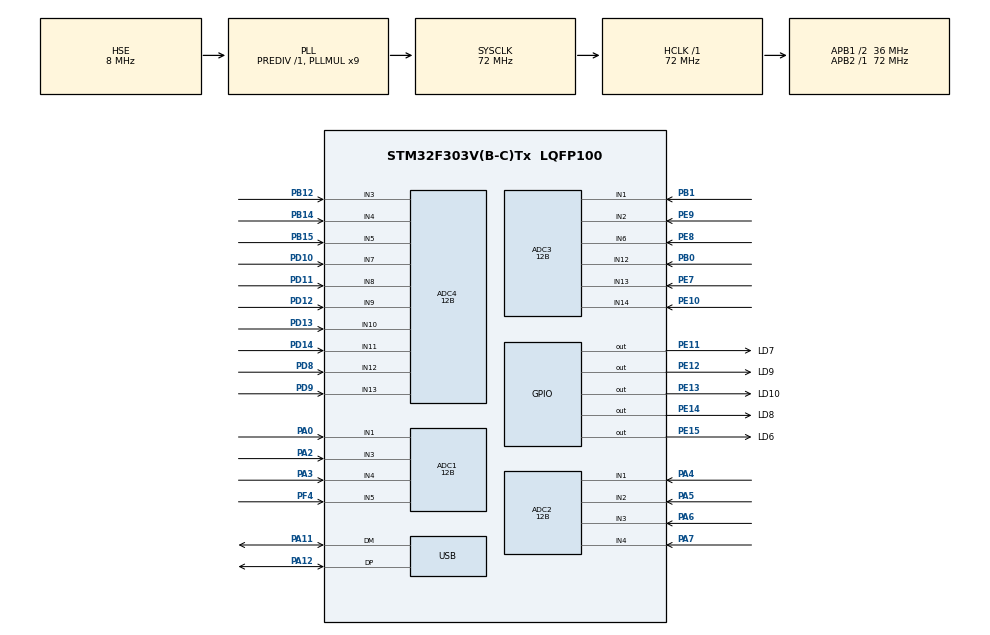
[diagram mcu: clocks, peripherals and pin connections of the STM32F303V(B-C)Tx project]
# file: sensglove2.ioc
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ADC1.Channel-0\#ChannelRegularConversion=ADC_CHANNEL_5
ADC1.Channel-1\#ChannelRegularConversion=ADC_CHANNEL_3
ADC1.Channel-2\#ChannelRegularConversion=ADC_CHANNEL_4
ADC1.Channel-3\#ChannelRegularConversion=ADC_CHANNEL_1
ADC1.ClockPrescaler=ADC_CLOCK_SYNC_PCLK_DIV1
ADC1.ContinuousConvMode=ENABLE
ADC1.DMAContinuousRequests=ENABLE
ADC1.DataAlign=ADC_DATAALIGN_RIGHT
ADC1.DiscontinuousConvMode=DISABLE
ADC1.EOCSelection=ADC_EOC_SEQ_CONV
ADC1.EnableAnalogWatchDog1=false
ADC1.EnableAnalogWatchDog2=false
ADC1.EnableAnalogWatchDog3=false
ADC1.EnableInjectedConversion=ENABLE
ADC1.EnableRegularConversion=ENABLE
ADC1.ExternalTrigConv=ADC_SOFTWARE_START
ADC1.ExternalTrigConvEdge=ADC_EXTERNALTRIGCONVEDGE_NONE
ADC1.InjNumberOfConversion=0
ADC1.LowPowerAutoWait=DISABLE
ADC1.NbrOfConversion=4
ADC1.NbrOfConversionFlag=1
ADC1.Offset-0\#ChannelRegularConversion=0
ADC1.Offset-1\#ChannelRegularConversion=0
ADC1.Offset-2\#ChannelRegularConversion=0
ADC1.Offset-3\#ChannelRegularConversion=0
ADC1.OffsetNumber-0\#ChannelRegularConversion=ADC_OFFSET_NONE
ADC1.OffsetNumber-1\#ChannelRegularConversion=ADC_OFFSET_NONE
ADC1.OffsetNumber-2\#ChannelRegularConversion=ADC_OFFSET_NONE
ADC1.OffsetNumber-3\#ChannelRegularConversion=ADC_OFFSET_NONE
ADC1.Overrun=ADC_OVR_DATA_OVERWRITTEN
ADC1.Rank-0\#ChannelRegularConversion=1
ADC1.Rank-1\#ChannelRegularConversion=2
ADC1.Rank-2\#ChannelRegularConversion=3
ADC1.Rank-3\#ChannelRegularConversion=4
ADC1.Resolution=ADC_RESOLUTION_12B
ADC1.SamplingTime-0\#ChannelRegularConversion=ADC_SAMPLETIME_601CYCLES_5
ADC1.SamplingTime-1\#ChannelRegularConversion=ADC_SAMPLETIME_601CYCLES_5
ADC1.SamplingTime-2\#ChannelRegularConversion=ADC_SAMPLETIME_601CYCLES_5
ADC1.SamplingTime-3\#ChannelRegularConversion=ADC_SAMPLETIME_601CYCLES_5
ADC1.ScanConvMode=ADC_SCAN_ENABLE
ADC1.master=1
ADC2.Channel-22\#ChannelRegularConversion=ADC_CHANNEL_4
ADC2.Channel-23\#ChannelRegularConversion=ADC_CHANNEL_3
ADC2.Channel-24\#ChannelRegularConversion=ADC_CHANNEL_2
ADC2.Channel-25\#ChannelRegularConversion=ADC_CHANNEL_1
ADC2.ClockPrescaler=ADC_CLOCK_SYNC_PCLK_DIV1
ADC2.ContinuousConvMode=ENABLE
ADC2.DMAContinuousRequests=ENABLE
ADC2.DataAlign=ADC_DATAALIGN_RIGHT
ADC2.DiscontinuousConvMode=DISABLE
ADC2.EOCSelection=ADC_EOC_SEQ_CONV
ADC2.EnableAnalogWatchDog1=false
ADC2.EnableAnalogWatchDog2=false
ADC2.EnableAnalogWatchDog3=false
ADC2.EnableInjectedConversion=ENABLE
ADC2.EnableRegularConversion=ENABLE
ADC2.ExternalTrigConv=ADC_SOFTWARE_START
ADC2.ExternalTrigConvEdge=ADC_EXTERNALTRIGCONVEDGE_NONE
ADC2.InjNumberOfConversion=0
ADC2.LowPowerAutoWait=DISABLE
ADC2.NbrOfConversion=4
ADC2.NbrOfConversionFlag=1
ADC2.Offset-22\#ChannelRegularConversion=0
ADC2.Offset-23\#ChannelRegularConversion=0
ADC2.Offset-24\#ChannelRegularConversion=0
ADC2.Offset-25\#ChannelRegularConversion=0
ADC2.OffsetNumber-22\#ChannelRegularConversion=ADC_OFFSET_NONE
ADC2.OffsetNumber-23\#ChannelRegularConversion=ADC_OFFSET_NONE
ADC2.OffsetNumber-24\#ChannelRegularConversion=ADC_OFFSET_NONE
ADC2.OffsetNumber-25\#ChannelRegularConversion=ADC_OFFSET_NONE
ADC2.Overrun=ADC_OVR_DATA_OVERWRITTEN
ADC2.Rank-22\#ChannelRegularConversion=1
ADC2.Rank-23\#ChannelRegularConversion=2
ADC2.Rank-24\#ChannelRegularConversion=3
ADC2.Rank-25\#ChannelRegularConversion=4
ADC2.Resolution=ADC_RESOLUTION_12B
ADC2.SamplingTime-22\#ChannelRegularConversion=ADC_SAMPLETIME_601CYCLES_5
ADC2.SamplingTime-23\#ChannelRegularConversion=ADC_SAMPLETIME_601CYCLES_5
ADC2.SamplingTime-24\#ChannelRegularConversion=ADC_SAMPLETIME_601CYCLES_5
ADC2.SamplingTime-25\#ChannelRegularConversion=ADC_SAMPLETIME_601CYCLES_5
ADC2.ScanConvMode=ADC_SCAN_ENABLE
ADC3.Channel-0\#ChannelRegularConversion=ADC_CHANNEL_14
ADC3.Channel-1\#ChannelRegularConversion=ADC_CHANNEL_2
ADC3.Channel-2\#ChannelRegularConversion=ADC_CHANNEL_6
ADC3.Channel-3\#ChannelRegularConversion=ADC_CHANNEL_13
ADC3.Channel-4\#ChannelRegularConversion=ADC_CHANNEL_1
ADC3.Channel-5\#ChannelRegularConversion=ADC_CHANNEL_12
ADC3.ClockPrescaler=ADC_CLOCK_SYNC_PCLK_DIV1
ADC3.ContinuousConvMode=ENABLE
ADC3.DMAContinuousRequests=ENABLE
ADC3.DataAlign=ADC_DATAALIGN_RIGHT
ADC3.DiscontinuousConvMode=DISABLE
ADC3.EOCSelection=ADC_EOC_SEQ_CONV
ADC3.EnableAnalogWatchDog1=false
ADC3.EnableAnalogWatchDog2=false
ADC3.EnableAnalogWatchDog3=false
ADC3.EnableInjectedConversion=ENABLE
ADC3.EnableRegularConversion=ENABLE
ADC3.ExternalTrigConv=ADC_SOFTWARE_START
ADC3.ExternalTrigConvEdge=ADC_EXTERNALTRIGCONVEDGE_NONE
ADC3.InjNumberOfConversion=0
ADC3.LowPowerAutoWait=DISABLE
ADC3.NbrOfConversion=6
ADC3.NbrOfConversionFlag=1
ADC3.Offset-0\#ChannelRegularConversion=0
ADC3.Offset-1\#ChannelRegularConversion=0
ADC3.Offset-2\#ChannelRegularConversion=0
ADC3.Offset-3\#ChannelRegularConversion=0
ADC3.Offset-4\#ChannelRegularConversion=0
ADC3.Offset-5\#ChannelRegularConversion=0
ADC3.OffsetNumber-0\#ChannelRegularConversion=ADC_OFFSET_NONE
ADC3.OffsetNumber-1\#ChannelRegularConversion=ADC_OFFSET_NONE
ADC3.OffsetNumber-2\#ChannelRegularConversion=ADC_OFFSET_NONE
ADC3.OffsetNumber-3\#ChannelRegularConversion=ADC_OFFSET_NONE
ADC3.OffsetNumber-4\#ChannelRegularConversion=ADC_OFFSET_NONE
ADC3.OffsetNumber-5\#ChannelRegularConversion=ADC_OFFSET_NONE
ADC3.Overrun=ADC_OVR_DATA_OVERWRITTEN
ADC3.Rank-0\#ChannelRegularConversion=1
ADC3.Rank-1\#ChannelRegularConversion=2
ADC3.Rank-2\#ChannelRegularConversion=3
ADC3.Rank-3\#ChannelRegularConversion=4
ADC3.Rank-4\#ChannelRegularConversion=5
ADC3.Rank-5\#ChannelRegularConversion=6
ADC3.Resolution=ADC_RESOLUTION_12B
ADC3.SamplingTime-0\#ChannelRegularConversion=ADC_SAMPLETIME_181CYCLES_5
ADC3.SamplingTime-1\#ChannelRegularConversion=ADC_SAMPLETIME_181CYCLES_5
ADC3.SamplingTime-2\#ChannelRegularConversion=ADC_SAMPLETIME_181CYCLES_5
ADC3.SamplingTime-3\#ChannelRegularConversion=ADC_SAMPLETIME_181CYCLES_5
ADC3.SamplingTime-4\#ChannelRegularConversion=ADC_SAMPLETIME_181CYCLES_5
ADC3.SamplingTime-5\#ChannelRegularConversion=ADC_SAMPLETIME_181CYCLES_5
ADC3.ScanConvMode=ADC_SCAN_ENABLE
ADC3.master=1
ADC4.Channel-0\#ChannelRegularConversion=ADC_CHANNEL_11
ADC4.Channel-1\#ChannelRegularConversion=ADC_CHANNEL_10
ADC4.Channel-2\#ChannelRegularConversion=ADC_CHANNEL_9
ADC4.Channel-3\#ChannelRegularConversion=ADC_CHANNEL_8
ADC4.Channel-4\#ChannelRegularConversion=ADC_CHANNEL_7
ADC4.Channel-5\#ChannelRegularConversion=ADC_CHANNEL_13
ADC4.Channel-6\#ChannelRegularConversion=ADC_CHANNEL_12
ADC4.Channel-7\#ChannelRegularConversion=ADC_CHANNEL_5
ADC4.Channel-8\#ChannelRegularConversion=ADC_CHANNEL_4
ADC4.Channel-9\#ChannelRegularConversion=ADC_CHANNEL_3
ADC4.ClockPrescaler=ADC_CLOCK_SYNC_PCLK_DIV1
ADC4.ContinuousConvMode=ENABLE
ADC4.DMAContinuousRequests=ENABLE
ADC4.DataAlign=ADC_DATAALIGN_RIGHT
ADC4.DiscontinuousConvMode=DISABLE
ADC4.EOCSelection=ADC_EOC_SEQ_CONV
ADC4.EnableAnalogWatchDog1=false
ADC4.EnableAnalogWatchDog2=false
ADC4.EnableAnalogWatchDog3=false
ADC4.EnableInjectedConversion=ENABLE
ADC4.EnableRegularConversion=ENABLE
ADC4.ExternalTrigConv=ADC_SOFTWARE_START
ADC4.ExternalTrigConvEdge=ADC_EXTERNALTRIGCONVEDGE_NONE
ADC4.InjNumberOfConversion=0
ADC4.LowPowerAutoWait=DISABLE
ADC4.NbrOfConversion=10
ADC4.NbrOfConversionFlag=1
ADC4.Offset-0\#ChannelRegularConversion=0
ADC4.Offset-1\#ChannelRegularConversion=0
ADC4.Offset-2\#ChannelRegularConversion=0
ADC4.Offset-3\#ChannelRegularConversion=0
ADC4.Offset-4\#ChannelRegularConversion=0
ADC4.Offset-5\#ChannelRegularConversion=0
ADC4.Offset-6\#ChannelRegularConversion=0
ADC4.Offset-7\#ChannelRegularConversion=0
ADC4.Offset-8\#ChannelRegularConversion=0
ADC4.Offset-9\#ChannelRegularConversion=0
ADC4.OffsetNumber-0\#ChannelRegularConversion=ADC_OFFSET_NONE
ADC4.OffsetNumber-1\#ChannelRegularConversion=ADC_OFFSET_NONE
ADC4.OffsetNumber-2\#ChannelRegularConversion=ADC_OFFSET_NONE
ADC4.OffsetNumber-3\#ChannelRegularConversion=ADC_OFFSET_NONE
ADC4.OffsetNumber-4\#ChannelRegularConversion=ADC_OFFSET_NONE
ADC4.OffsetNumber-5\#ChannelRegularConversion=ADC_OFFSET_NONE
ADC4.OffsetNumber-6\#ChannelRegularConversion=ADC_OFFSET_NONE
ADC4.OffsetNumber-7\#ChannelRegularConversion=ADC_OFFSET_NONE
ADC4.OffsetNumber-8\#ChannelRegularConversion=ADC_OFFSET_NONE
ADC4.OffsetNumber-9\#ChannelRegularConversion=ADC_OFFSET_NONE
ADC4.Overrun=ADC_OVR_DATA_OVERWRITTEN
ADC4.Rank-0\#ChannelRegularConversion=1
ADC4.Rank-1\#ChannelRegularConversion=2
ADC4.Rank-2\#ChannelRegularConversion=3
ADC4.Rank-3\#ChannelRegularConversion=4
ADC4.Rank-4\#ChannelRegularConversion=5
ADC4.Rank-5\#ChannelRegularConversion=6
ADC4.Rank-6\#ChannelRegularConversion=7
ADC4.Rank-7\#ChannelRegularConversion=8
ADC4.Rank-8\#ChannelRegularConversion=9
ADC4.Rank-9\#ChannelRegularConversion=10
ADC4.Resolution=ADC_RESOLUTION_12B
ADC4.SamplingTime-0\#ChannelRegularConversion=ADC_SAMPLETIME_181CYCLES_5
ADC4.SamplingTime-1\#ChannelRegularConversion=ADC_SAMPLETIME_181CYCLES_5
ADC4.SamplingTime-2\#ChannelRegularConversion=ADC_SAMPLETIME_181CYCLES_5
ADC4.SamplingTime-3\#ChannelRegularConversion=ADC_SAMPLETIME_181CYCLES_5
ADC4.SamplingTime-4\#ChannelRegularConversion=ADC_SAMPLETIME_181CYCLES_5
ADC4.SamplingTime-5\#ChannelRegularConversion=ADC_SAMPLETIME_181CYCLES_5
ADC4.SamplingTime-6\#ChannelRegularConversion=ADC_SAMPLETIME_181CYCLES_5
ADC4.SamplingTime-7\#ChannelRegularConversion=ADC_SAMPLETIME_181CYCLES_5
ADC4.SamplingTime-8\#ChannelRegularConversion=ADC_SAMPLETIME_181CYCLES_5
ADC4.SamplingTime-9\#ChannelRegularConversion=ADC_SAMPLETIME_181CYCLES_5
ADC4.ScanConvMode=ADC_SCAN_ENABLE
Dma.ADC1.2.Direction=DMA_PERIPH_TO_MEMORY
Dma.ADC1.2.Instance=DMA1_Channel1
Dma.ADC1.2.MemDataAlignment=DMA_MDATAALIGN_HALFWORD
Dma.ADC1.2.MemInc=DMA_MINC_ENABLE
Dma.ADC1.2.Mode=DMA_CIRCULAR
Dma.ADC1.2.PeriphDataAlignment=DMA_PDATAALIGN_HALFWORD
Dma.ADC1.2.PeriphInc=DMA_PINC_DISABLE
Dma.ADC1.2.Priority=DMA_PRIORITY_HIGH
Dma.ADC2.1.Direction=DMA_PERIPH_TO_MEMORY
Dma.ADC2.1.Instance=DMA2_Channel1
Dma.ADC2.1.MemDataAlignment=DMA_MDATAALIGN_HALFWORD
Dma.ADC2.1.MemInc=DMA_MINC_ENABLE
Dma.ADC2.1.Mode=DMA_CIRCULAR
Dma.ADC2.1.PeriphDataAlignment=DMA_PDATAALIGN_HALFWORD
Dma.ADC2.1.PeriphInc=DMA_PINC_DISABLE
Dma.ADC2.1.Priority=DMA_PRIORITY_HIGH
Dma.ADC3.0.Direction=DMA_PERIPH_TO_MEMORY
Dma.ADC3.0.Instance=DMA2_Channel5
Dma.ADC3.0.MemDataAlignment=DMA_MDATAALIGN_HALFWORD
Dma.ADC3.0.MemInc=DMA_MINC_ENABLE
Dma.ADC3.0.Mode=DMA_CIRCULAR
Dma.ADC3.0.PeriphDataAlignment=DMA_PDATAALIGN_HALFWORD
Dma.ADC3.0.PeriphInc=DMA_PINC_DISABLE
Dma.ADC3.0.Priority=DMA_PRIORITY_MEDIUM
Dma.ADC4.3.Direction=DMA_PERIPH_TO_MEMORY
Dma.ADC4.3.Instance=DMA2_Channel2
Dma.ADC4.3.MemDataAlignment=DMA_MDATAALIGN_HALFWORD
Dma.ADC4.3.MemInc=DMA_MINC_ENABLE
Dma.ADC4.3.Mode=DMA_CIRCULAR
Dma.ADC4.3.PeriphDataAlignment=DMA_PDATAALIGN_HALFWORD
Dma.ADC4.3.PeriphInc=DMA_PINC_DISABLE
Dma.ADC4.3.Priority=DMA_PRIORITY_MEDIUM
Dma.Request0=ADC3
Dma.Request1=ADC2
Dma.Request2=ADC1
Dma.Request3=ADC4
Mcu.Family=STM32F3
Mcu.Name=STM32F303V(B-C)Tx
Mcu.Package=LQFP100
Mcu.UserConstants=htim6_PSC,72;htim6_ARR,999
NVIC.DMA1_Channel1_IRQn=true\:0\:0\:false\:false\:true
NVIC.DMA2_Channel1_IRQn=true\:0\:0\:false\:false\:true
NVIC.DMA2_Channel2_IRQn=true\:0\:0\:false\:false\:true
NVIC.DMA2_Channel5_IRQn=true\:0\:0\:false\:false\:true
NVIC.PriorityGroup=NVIC_PRIORITYGROUP_4
NVIC.TIM6_DAC_IRQn=true\:0\:0\:false\:false\:true
NVIC.USB_LP_CAN_RX0_IRQn=true\:0\:0\:false\:false\:true
PA0.Mode=IN1-Single-Ended
PA0.Signal=ADC1_IN1
PA11.Mode=Device
PA11.Signal=USB_DM
PA12.Mode=Device
PA12.Signal=USB_DP
PA13.Mode=Serial_Wire
PA13.Signal=SYS_JTMS-SWDIO
PA14.Mode=Serial_Wire
PA14.Signal=SYS_JTCK-SWCLK
PA2.Mode=IN3-Single-Ended
PA2.Signal=ADC1_IN3
PA3.Mode=IN4-Single-Ended
PA3.Signal=ADC1_IN4
PA4.Mode=IN1-Single-Ended
PA4.Signal=ADC2_IN1
PA5.Mode=IN2-Single-Ended
PA5.Signal=ADC2_IN2
PA6.Mode=IN3-Single-Ended
PA6.Signal=ADC2_IN3
PA7.Mode=IN4-Single-Ended
PA7.Signal=ADC2_IN4
PB0.Mode=IN12-Single-Ended
PB0.Signal=ADC3_IN12
PB1.Mode=IN1-Single-Ended
PB1.Signal=ADC3_IN1
PB12.Mode=IN3-Single-Ended
PB12.Signal=ADC4_IN3
PB14.Mode=IN4-Single-Ended
PB14.Signal=ADC4_IN4
PB15.Mode=IN5-Single-Ended
PB15.Signal=ADC4_IN5
PD10.Signal=ADCx_IN7P
PD11.Signal=ADCx_IN8P
PD12.Signal=ADCx_IN9P
PD13.Signal=ADCx_IN10P
PD14.Signal=ADCx_IN11
PD8.Mode=IN12-Single-Ended
PD8.Signal=ADC4_IN12
PD9.Mode=IN13-Single-Ended
PD9.Signal=ADC4_IN13
PE10.Mode=IN14-Single-Ended
PE10.Signal=ADC3_IN14
PE11.GPIO_Label=LD7
PE11.Signal=GPIO_Output
PE12.GPIO_Label=LD9
PE12.Signal=GPIO_Output
PE13.GPIO_Label=LD10
PE13.Signal=GPIO_Output
PE14.GPIO_Label=LD8
PE14.Signal=GPIO_Output
PE15.GPIO_Label=LD6
PE15.Signal=GPIO_Output
PE7.Mode=IN13-Single-Ended
PE7.Signal=ADC3_IN13
PE8.Signal=ADCx_IN6P
PE9.Mode=IN2-Single-Ended
PE9.Signal=ADC3_IN2
PF0-OSC_IN.Mode=HSE-External-Clock-Source
PF0-OSC_IN.Signal=RCC_OSC_IN
PF4.Mode=IN5-Single-Ended
PF4.Signal=ADC1_IN5
ProjectManager.HeapSize=0x200
ProjectManager.StackSize=0x400
ProjectManager.TargetToolchain=SW4STM32
RCC.AHBFreq_Value=72000000
RCC.APB1CLKDivider=RCC_HCLK_DIV2
RCC.APB1Freq_Value=36000000
RCC.APB1TimFreq_Value=72000000
RCC.APB2Freq_Value=72000000
RCC.APB2TimFreq_Value=72000000
RCC.CortexFreq_Value=72000000
RCC.EnbaleCSS=true
RCC.HCLKFreq_Value=72000000
RCC.HSE_VALUE=8000000
RCC.HSI_VALUE=8000000
RCC.LSE_VALUE=32768
RCC.PLLMUL=RCC_PLL_MUL9
RCC.PRESCALERUSB=RCC_USBCLKSOURCE_PLL_DIV1_5
RCC.SYSCLKFreq_VALUE=72000000
RCC.SYSCLKSourceVirtual=RCC_SYSCLKSOURCE_PLLCLK
RCC.USBFreq_Value=48000000
SH.ADCx_IN10P.0=ADC4_IN10,IN10-Single-Ended
SH.ADCx_IN11.0=ADC4_IN11,IN11-Single-Ended
SH.ADCx_IN6P.0=ADC3_IN6,IN6-Single-Ended
SH.ADCx_IN7P.0=ADC4_IN7,IN7-Single-Ended
SH.ADCx_IN8P.0=ADC4_IN8,IN8-Single-Ended
SH.ADCx_IN9P.0=ADC4_IN9,IN9-Single-Ended
TIM6.Period=htim6_ARR
TIM6.Prescaler=htim6_PSC
USB_DEVICE.CLASS_NAME_FS=CDC
USB_DEVICE.MANUFACTURER_STRING=SensGlove
USB_DEVICE.PRODUCT_STRING_CDC_FS=SensGlove MU
USB_DEVICE.USBD_SUPPORT_USER_STRING=1
USB_DEVICE.VirtualMode=Cdc
USB_DEVICE.VirtualModeFS=Cdc_FS
VP_TIM6_VS_ClockSourceINT.Mode=Enable_Timer
VP_USB_DEVICE_VS_USB_DEVICE_CDC_FS.Mode=CDC_FS
board=sensglove2

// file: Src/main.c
/**
  ******************************************************************************
  * File Name          : main.c
  * Description        : Main program body
  ******************************************************************************
  *
  * Copyright (c) 2017 STMicroelectronics International N.V.
  * All rights reserved.
  *
  * Redistribution and use in source and binary forms, with or without
  * modification, are permitted, provided that the following conditions are met:
  *
  * 1. Redistribution of source code must retain the above copyright notice,
  *    this list of conditions and the following disclaimer.
  * 2. Redistributions in binary form must reproduce the above copyright notice,
  *    this list of conditions and the following disclaimer in the documentation
  *    and/or other materials provided with the distribution.
  * 3. Neither the name of STMicroelectronics nor the names of other
  *    contributors to this software may be used to endorse or promote products
  *    derived from this software without specific written permission.
  * 4. This software, including modifications and/or derivative works of this
  *    software, must execute solely and exclusively on microcontroller or
  *    microprocessor devices manufactured by or for STMicroelectronics.
  * 5. Redistribution and use of this software other than as permitted under
  *    this license is void and will automatically terminate your rights under
  *    this license.
  *
  * THIS SOFTWARE IS PROVIDED BY STMICROELECTRONICS AND CONTRIBUTORS "AS IS"
  * AND ANY EXPRESS, IMPLIED OR STATUTORY WARRANTIES, INCLUDING, BUT NOT
  * LIMITED TO, THE IMPLIED WARRANTIES OF MERCHANTABILITY, FITNESS FOR A
  * PARTICULAR PURPOSE AND NON-INFRINGEMENT OF THIRD PARTY INTELLECTUAL PROPERTY
  * RIGHTS ARE DISCLAIMED TO THE FULLEST EXTENT PERMITTED BY LAW. IN NO EVENT
  * SHALL STMICROELECTRONICS OR CONTRIBUTORS BE LIABLE FOR ANY DIRECT, INDIRECT,
  * INCIDENTAL, SPECIAL, EXEMPLARY, OR CONSEQUENTIAL DAMAGES (INCLUDING, BUT NOT
  * LIMITED TO, PROCUREMENT OF SUBSTITUTE GOODS OR SERVICES; LOSS OF USE, DATA,
  * OR PROFITS; OR BUSINESS INTERRUPTION) HOWEVER CAUSED AND ON ANY THEORY OF
  * LIABILITY, WHETHER IN CONTRACT, STRICT LIABILITY, OR TORT (INCLUDING
  * NEGLIGENCE OR OTHERWISE) ARISING IN ANY WAY OUT OF THE USE OF THIS SOFTWARE,
  * EVEN IF ADVISED OF THE POSSIBILITY OF SUCH DAMAGE.
  *
  ******************************************************************************
  */
#include "main.h"
#include "stm32f3xx_hal.h"
#include "adc.h"
#include "dma.h"
#include "tim.h"
#include "usb_device.h"
#include "gpio.h"

/* USER CODE BEGIN Includes */
#include "stdio.h"
/* USER CODE END Includes */

/* USER CODE BEGIN PV */
/* Private variables ---------------------------------------------------------*/
typedef union
{
	struct
	{
		uint16_t forceSensors[10];
		uint16_t flexSensors[6];
		uint16_t biosignals[8];
		uint16_t checksum;
	}measure;
	uint16_t measures[25];
} data_t;
data_t data;
uint8_t htim6_flag;
/* USER CODE END PV */

void SystemClock_Config(void);
void Error_Handler(void);

/* USER CODE BEGIN PFP */
/* Private function prototypes -----------------------------------------------*/
void HAL_TIM_PeriodElapsedCallback(TIM_HandleTypeDef * htim);
/* USER CODE END PFP */

int main(void)
{

  /* MCU Configuration----------------------------------------------------------*/

  /* Reset of all peripherals, Initializes the Flash interface and the Systick. */
  HAL_Init();

  /* Configure the system clock */
  SystemClock_Config();

  /* Initialize all configured peripherals */
  MX_GPIO_Init();
  MX_DMA_Init();
  MX_ADC1_Init();
  MX_ADC2_Init();
  MX_ADC3_Init();
  MX_ADC4_Init();
  MX_TIM6_Init();
  MX_USB_DEVICE_Init();

  /* USER CODE BEGIN 2 */
  HAL_ADC_Start_DMA(&hadc2, &data.measure.biosignals[0], 4);
  HAL_ADC_Start_DMA(&hadc1, &data.measure.biosignals[4], 4);
  HAL_ADC_Start_DMA(&hadc3, &data.measure.flexSensors[0], 6);
  HAL_ADC_Start_DMA(&hadc4, &data.measure.forceSensors[0], 10);
  HAL_TIM_Base_Start_IT(&htim6);

  printf("Device ready\r\n");
  /* USER CODE END 2 */

  /* Infinite loop */
  while (1)
  {

  /* USER CODE BEGIN 3 */

	  if(htim6_flag)
	  {
		  uint16_t measures[25];
		  memcpy(measures, data.measures, 24 * sizeof(uint16_t));

		  measures[24]= 0;
		  for(int i = 0; i < 24; i++)
		  {
			  if(i!=15)
				  measures[24]+=measures[i];
		  }
		  printf("X%4.4x%4.4x%4.4x%4.4x%4.4x%4.4x%4.4x%4.4x%4.4x%4.4x%4.4x%4.4x%4.4x%4.4x%4.4x%4.4x%4.4x%4.4x%4.4x%4.4x%4.4x%4.4x%4.4x%4.4x\r\n",
				  measures[0], measures[1], measures[2], measures[3], measures[4],
				  measures[5], measures[6], measures[7], measures[8], measures[9],
				  measures[10], measures[11], measures[12], measures[13], measures[14],
				  measures[16], measures[17], measures[18], measures[19],
				  measures[20], measures[21], measures[22], measures[23], measures[24]);

		  htim6_flag = 0;
	  }

  }
  /* USER CODE END 3 */

}

/** System Clock Configuration
*/
void SystemClock_Config(void)
{

  RCC_OscInitTypeDef RCC_OscInitStruct;
  RCC_ClkInitTypeDef RCC_ClkInitStruct;
  RCC_PeriphCLKInitTypeDef PeriphClkInit;

    /**Initializes the CPU, AHB and APB busses clocks
    */
  RCC_OscInitStruct.OscillatorType = RCC_OSCILLATORTYPE_HSE;
  RCC_OscInitStruct.HSEState = RCC_HSE_BYPASS;
  RCC_OscInitStruct.HSEPredivValue = RCC_HSE_PREDIV_DIV1;
  RCC_OscInitStruct.HSIState = RCC_HSI_ON;
  RCC_OscInitStruct.PLL.PLLState = RCC_PLL_ON;
  RCC_OscInitStruct.PLL.PLLSource = RCC_PLLSOURCE_HSE;
  RCC_OscInitStruct.PLL.PLLMUL = RCC_PLL_MUL9;
  if (HAL_RCC_OscConfig(&RCC_OscInitStruct) != HAL_OK)
  {
    Error_Handler();
  }

    /**Initializes the CPU, AHB and APB busses clocks
    */
  RCC_ClkInitStruct.ClockType = RCC_CLOCKTYPE_HCLK|RCC_CLOCKTYPE_SYSCLK
                              |RCC_CLOCKTYPE_PCLK1|RCC_CLOCKTYPE_PCLK2;
  RCC_ClkInitStruct.SYSCLKSource = RCC_SYSCLKSOURCE_PLLCLK;
  RCC_ClkInitStruct.AHBCLKDivider = RCC_SYSCLK_DIV1;
  RCC_ClkInitStruct.APB1CLKDivider = RCC_HCLK_DIV2;
  RCC_ClkInitStruct.APB2CLKDivider = RCC_HCLK_DIV1;

  if (HAL_RCC_ClockConfig(&RCC_ClkInitStruct, FLASH_LATENCY_2) != HAL_OK)
  {
    Error_Handler();
  }

  PeriphClkInit.PeriphClockSelection = RCC_PERIPHCLK_USB;
  PeriphClkInit.USBClockSelection = RCC_USBCLKSOURCE_PLL_DIV1_5;
  if (HAL_RCCEx_PeriphCLKConfig(&PeriphClkInit) != HAL_OK)
  {
    Error_Handler();
  }

    /**Enables the Clock Security System
    */
  HAL_RCC_EnableCSS();

    /**Configure the Systick interrupt time
    */
  HAL_SYSTICK_Config(HAL_RCC_GetHCLKFreq()/1000);

    /**Configure the Systick
    */
  HAL_SYSTICK_CLKSourceConfig(SYSTICK_CLKSOURCE_HCLK);

  /* SysTick_IRQn interrupt configuration */
  HAL_NVIC_SetPriority(SysTick_IRQn, 0, 0);
}

/* USER CODE BEGIN 4 */
void HAL_TIM_PeriodElapsedCallback(TIM_HandleTypeDef * htim)
{
	if(htim == &htim6)
	{
		HAL_GPIO_TogglePin(LD10_GPIO_Port, LD10_Pin);
		htim6_flag = 1;
	}
}
int _write(int file, char * ptr, int len)
{
	CDC_Transmit_FS(ptr, len);
	return len;
}
/* USER CODE END 4 */

void Error_Handler(void)
{
  while(1)
  {
  }
}

/************************ (C) COPYRIGHT STMicroelectronics *****END OF FILE****/
